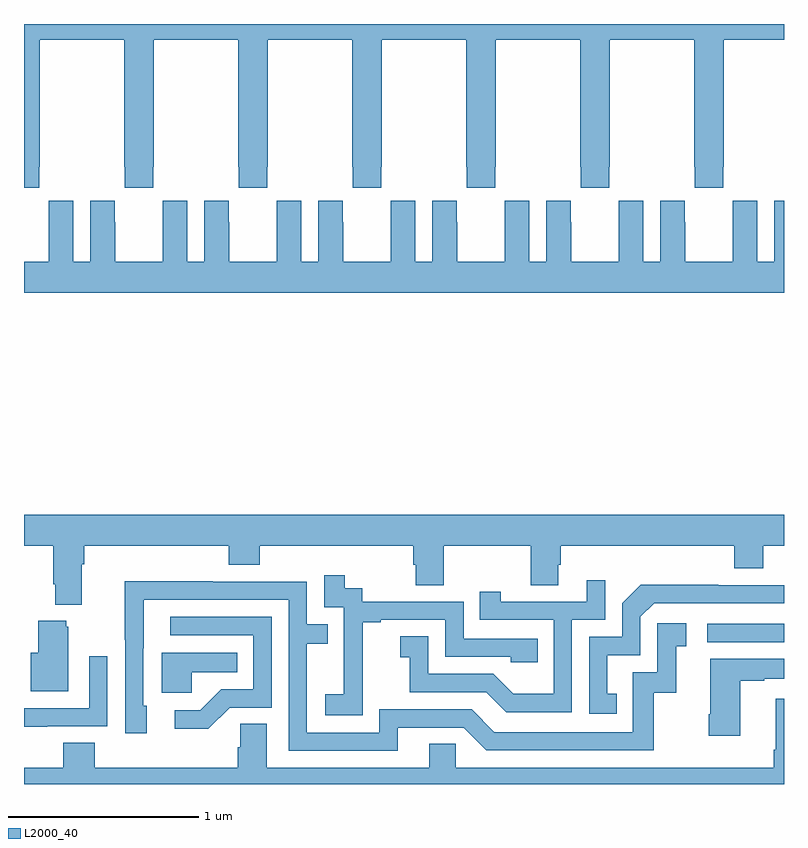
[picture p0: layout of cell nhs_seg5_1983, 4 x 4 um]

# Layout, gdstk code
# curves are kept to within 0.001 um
import gdstk
lib = gdstk.Library(unit=1e-6, precision=1e-09)
def R(c, l, rs):  # rectangles x0, y0, x1, y1
    for r in rs: c.add(gdstk.rectangle(r[:2], r[2:], *l))
def P(c, l, *ps):  # polygons
    for p in ps: c.add(gdstk.Polygon(p, *l))
L2000_40 = (2000, 40)

nhs_seg5_1983 = lib.new_cell('nhs_seg5_1983')
R(nhs_seg5_1983, L2000_40, [(230.595,897.546,231,897.642)])
P(nhs_seg5_1983, L2000_40, [(227.079,900.049),(227.082,900.049),(227.082,900.716),(227.527,900.716),(227.527,900.049),(227.529,900.049),(227.529,899.937),(227.679,899.937),(227.679,900.049),(227.682,900.049),(227.682,900.716),(228.127,900.716),(228.127,900.049),(228.129,900.049),(228.129,899.937),(228.279,899.937),(228.279,900.049),(228.282,900.049),(228.282,900.716),(228.727,900.716),(228.727,900.049),(228.729,900.049),(228.729,899.937),(228.879,899.937),(228.879,900.049),(228.882,900.049),(228.882,900.716),(229.327,900.716),(229.327,900.049),(229.329,900.049),(229.329,899.937),(229.479,899.937),(229.479,900.049),(229.482,900.049),(229.482,900.716),(229.927,900.716),(229.927,900.049),(229.929,900.049),(229.929,899.937),(230.079,899.937),(230.079,900.049),(230.082,900.049),(230.082,900.716),(230.527,900.716),(230.527,900.049),(230.529,900.049),(230.529,899.937),(230.679,899.937),(230.679,900.049),(230.682,900.049),(230.682,900.716),(231,900.716),(231,900.799),(227,900.799),(227,899.937),(227.079,899.937)],
  [(231,899.869),(230.948,899.869),(230.948,899.548),(230.86,899.548),(230.86,899.869),(230.73,899.869),(230.73,899.756),(230.729,899.756),(230.729,899.548),(230.479,899.548),(230.479,899.756),(230.478,899.756),(230.478,899.869),(230.348,899.869),(230.348,899.548),(230.26,899.548),(230.26,899.869),(230.13,899.869),(230.13,899.756),(230.129,899.756),(230.129,899.548),(229.879,899.548),(229.879,899.756),(229.878,899.756),(229.878,899.869),(229.748,899.869),(229.748,899.548),(229.66,899.548),(229.66,899.869),(229.53,899.869),(229.53,899.756),(229.529,899.756),(229.529,899.548),(229.279,899.548),(229.279,899.756),(229.278,899.756),(229.278,899.869),(229.148,899.869),(229.148,899.548),(229.06,899.548),(229.06,899.869),(228.93,899.869),(228.93,899.756),(228.929,899.756),(228.929,899.548),(228.679,899.548),(228.679,899.756),(228.678,899.756),(228.678,899.869),(228.548,899.869),(228.548,899.548),(228.46,899.548),(228.46,899.869),(228.33,899.869),(228.33,899.756),(228.329,899.756),(228.329,899.548),(228.079,899.548),(228.079,899.756),(228.078,899.756),(228.078,899.869),(227.948,899.869),(227.948,899.548),(227.86,899.548),(227.86,899.869),(227.73,899.869),(227.73,899.756),(227.729,899.756),(227.729,899.548),(227.479,899.548),(227.479,899.756),(227.478,899.756),(227.478,899.869),(227.348,899.869),(227.348,899.548),(227.26,899.548),(227.26,899.869),(227.13,899.869),(227.13,899.756),(227.129,899.756),(227.129,899.548),(227,899.548),(227,899.384),(231,899.384)],
  [(227.305,897.956),(227.318,897.956),(227.318,898.052),(228.077,898.052),(228.077,897.953),(228.242,897.953),(228.242,898.052),(229.049,898.052),(229.049,897.954),(229.061,897.954),(229.061,897.844),(229.209,897.844),(229.209,898.052),(229.666,898.052),(229.666,897.844),(229.813,897.844),(229.813,897.954),(229.826,897.954),(229.826,898.052),(230.738,898.052),(230.738,897.935),(230.89,897.935),(230.89,898.052),(231,898.052),(231,898.216),(227,898.216),(227,898.052),(227.153,898.052),(227.153,897.85),(227.165,897.85),(227.165,897.743),(227.305,897.743)],
  [(228.783,897.367),(228.782,897.367),(228.782,897.651),(228.877,897.651),(228.877,897.663),(229.218,897.663),(229.218,897.468),(229.563,897.468),(229.563,897.441),(229.703,897.441),(229.703,897.564),(229.314,897.564),(229.314,897.759),(228.78,897.759),(228.78,897.828),(228.688,897.828),(228.688,897.898),(228.579,897.898),(228.579,897.729),(228.684,897.729),(228.684,897.5),(228.683,897.5),(228.683,897.271),(228.585,897.271),(228.585,897.161),(228.783,897.161)],
  [(229.884,897.663),(230.058,897.663),(230.058,897.871),(229.961,897.871),(229.961,897.759),(229.51,897.759),(229.51,897.811),(229.399,897.811),(229.399,897.663),(229.788,897.663),(229.788,897.274),(229.574,897.274),(229.47,897.378),(229.128,897.378),(229.128,897.577),(228.981,897.577),(228.981,897.467),(229.03,897.467),(229.03,897.282),(229.433,897.282),(229.538,897.177),(229.884,897.177)],
  [(228.967,897.096),(229.314,897.096),(229.434,896.976),(230.314,896.976),(230.314,897.279),(230.432,897.279),(230.432,897.525),(230.485,897.525),(230.485,897.646),(230.334,897.646),(230.334,897.387),(230.205,897.387),(230.205,897.072),(229.476,897.072),(229.356,897.192),(228.87,897.192),(228.87,897.069),(228.489,897.069),(228.489,897.538),(228.599,897.538),(228.599,897.639),(228.489,897.639),(228.489,897.864),(227.993,897.864),(227.993,897.866),(227.53,897.866),(227.53,897.559),(227.532,897.559),(227.532,897.066),(227.647,897.066),(227.647,897.21),(227.628,897.21),(227.629,897.768),(228.393,897.768),(228.393,896.973),(228.967,896.973)],
  [(230.12,897.273),(230.071,897.273),(230.071,897.477),(230.244,897.477),(230.244,897.678),(230.316,897.75),(231,897.75),(231,897.846),(230.654,897.846),(230.654,897.848),(230.246,897.848),(230.148,897.75),(230.148,897.573),(229.974,897.573),(229.974,897.168),(230.12,897.168)],
  [(228.084,897.201),(228.303,897.201),(228.303,897.678),(227.769,897.678),(227.769,897.582),(228.207,897.582),(228.207,897.297),(228.038,897.297),(227.927,897.186),(227.793,897.186),(227.793,897.089),(227.971,897.089)],
  [(227.233,897.627),(227.222,897.627),(227.222,897.658),(227.075,897.658),(227.075,897.49),(227.036,897.49),(227.036,897.287),(227.233,897.287)],
  [(227.883,897.386),(228.122,897.386),(228.122,897.49),(227.726,897.49),(227.726,897.278),(227.883,897.278)],
  [(227.123,897.102),(227.439,897.102),(227.439,897.472),(227.343,897.472),(227.343,897.198),(227,897.198),(227,897.101),(227.123,897.101)],
  [(230.77,897.343),(230.897,897.343),(230.897,897.353),(231,897.353),(231,897.457),(230.612,897.457),(230.612,897.166),(230.605,897.166),(230.605,897.054),(230.77,897.054)],
  [(231,897.247),(230.957,897.247),(230.957,896.98),(230.945,896.98),(230.945,896.884),(229.272,896.884),(229.272,897.011),(229.133,897.011),(229.133,896.884),(228.277,896.884),(228.277,897.116),(228.138,897.116),(228.138,896.993),(228.125,896.993),(228.125,896.884),(227.372,896.884),(227.372,897.017),(227.207,897.017),(227.207,896.884),(227,896.884),(227,896.799),(231,896.799)])

lib.write_gds('nhs_seg5_1983.gds')
